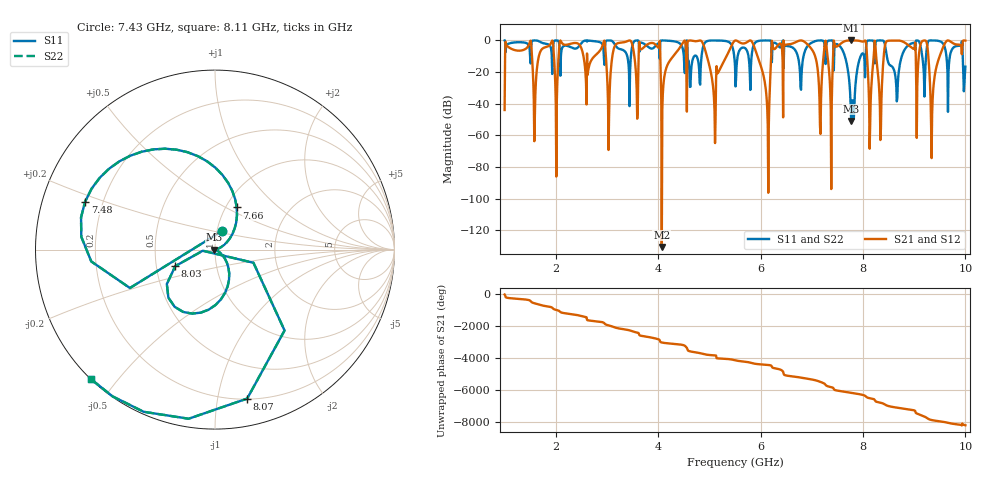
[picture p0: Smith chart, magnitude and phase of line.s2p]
! Created Sun Jan 19 16:05:36 2025
# hz S ma R 50
! 2 Port Network Data from SP1.SP block
! freq  magS11  angS11  magS21  angS21  magS12  angS12  magS22  angS22
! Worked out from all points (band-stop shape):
!   901 points, 1 GHz to 10 GHz, reference 50 ohm
!   highest |S21| = 0.00 dB at 7.77 GHz (marker M1); lowest = -130.6 dB at 4.07 GHz (marker M2)
!   |S21| within 3 dB of the highest: 6.474 GHz to 6.931 GHz (457 MHz wide, 6.82 % of centre); 7.529 GHz to 8.063 GHz (533.9 MHz wide, 6.85 % of centre)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
!   lowest |S11| = -50.8 dB at 7.77 GHz (marker M3), VSWR 1.01, Z = 49.7 - j0.0366 ohm
!   |S11| at or under -10 dB: 4.576 GHz to 4.702 GHz (126.7 MHz wide, 2.73 % of centre); 7.646 GHz to 7.953 GHz (306.7 MHz wide, 3.93 % of centre); 8.466 GHz to 8.758 GHz (291.4 MHz wide, 3.38 % of centre)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
!   |S22| runs from -50.8 to 0.0 dB; largest |S21 - S12| = 0
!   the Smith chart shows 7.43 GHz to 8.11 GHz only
!   S11 on the Smith chart (normalised r, x): 7.43 GHz: 1.06, +0.22; 7.48 GHz: 0.13, +0.18; 7.66 GHz: 1.12, +0.57; 8.03 GHz: 0.63, -0.12; 8.07 GHz: 0.20, -1.22; 8.11 GHz: 0.00, -0.43
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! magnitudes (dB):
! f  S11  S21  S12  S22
! 1 GHz  0.0  -44.0  -44.0  0.0
! 2.5 GHz  -1.7  -5.0  -5.0  -1.7
! 3.04 GHz  0.0  -48.1  -48.1  0.0
! 4 GHz  -1.9  -4.5  -4.5  -1.9
! 4.07 GHz  0.0  -130.6  -130.6  0.0
! 4.81 GHz  -26.9  0.0  0.0  -26.9
! 5.09 GHz  0.0  -36.7  -36.7  0.0
! 5.5 GHz  -15.9  -0.1  -0.1  -15.9
! 6.14 GHz  0.0  -53.7  -53.7  0.0
! 6.25 GHz  -1.6  -5.1  -5.1  -1.6
! 7 GHz  -1.4  -5.6  -5.6  -1.4
! 7.43 GHz  -19.0  -0.1  -0.1  -19.0
! 7.48 GHz  -2.3  -3.9  -3.9  -2.3
! 7.66 GHz  -11.6  -0.3  -0.3  -11.6
! 7.77 GHz  -50.8  0.0  0.0  -50.8
! 8.03 GHz  -12.4  -0.3  -0.3  -12.4
! 8.07 GHz  -1.4  -5.5  -5.5  -1.4
! 8.11 GHz  0.0  -29.9  -29.9  0.0
! 8.5 GHz  -14.4  -0.2  -0.2  -14.4
! 9.21 GHz  -24.4  0.0  0.0  -24.4
! 9.35 GHz  0.0  -46.7  -46.7  0.0
! 10 GHz  -16.5  -0.1  -0.1  -16.5
